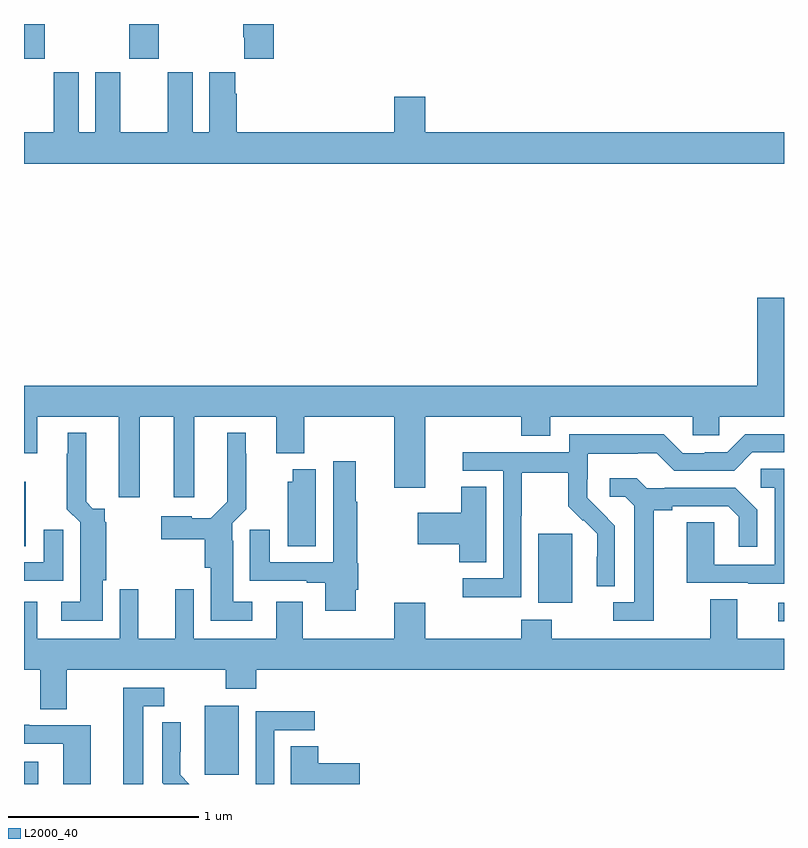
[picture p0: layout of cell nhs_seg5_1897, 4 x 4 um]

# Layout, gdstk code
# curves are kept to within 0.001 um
import gdstk
lib = gdstk.Library(unit=1e-6, precision=1e-09)
def R(c, l, rs):  # rectangles x0, y0, x1, y1
    for r in rs: c.add(gdstk.rectangle(r[:2], r[2:], *l))
def P(c, l, *ps):  # polygons
    for p in ps: c.add(gdstk.Polygon(p, *l))
L2000_40 = (2000, 40)

nhs_seg5_1897 = lib.new_cell('nhs_seg5_1897')
R(nhs_seg5_1897, L2000_40, [(223,882.799,223.075,882.916), (223.952,882.849,224.131,883.21), (226.971,883.656,227,883.752), (225.707,883.754,225.886,884.115), (223,884.05,223.009,884.391), (223,886.617,223.11,886.799), (223.555,886.617,223.71,886.799)])
P(nhs_seg5_1897, L2000_40, [(224.315,886.799),(224.155,886.799),(224.155,886.729),(224.159,886.729),(224.159,886.617),(224.315,886.617)],
  [(227,886.228),(225.112,886.228),(225.112,886.417),(224.948,886.417),(224.948,886.228),(224.12,886.228),(224.12,886.433),(224.113,886.433),(224.113,886.546),(223.976,886.546),(223.976,886.228),(223.888,886.228),(223.888,886.546),(223.757,886.546),(223.757,886.228),(223.507,886.228),(223.507,886.546),(223.376,886.546),(223.376,886.228),(223.288,886.228),(223.288,886.546),(223.157,886.546),(223.157,886.228),(223,886.228),(223,886.064),(227,886.064)],
  [(223,884.54),(223.069,884.54),(223.069,884.732),(223.499,884.732),(223.499,884.307),(223.609,884.307),(223.609,884.732),(223.787,884.732),(223.787,884.307),(223.897,884.307),(223.897,884.732),(224.327,884.732),(224.327,884.54),(224.475,884.54),(224.475,884.732),(224.948,884.732),(224.948,884.358),(225.112,884.358),(225.112,884.732),(225.617,884.732),(225.617,884.633),(225.769,884.633),(225.769,884.732),(226.521,884.732),(226.521,884.634),(226.659,884.634),(226.659,884.732),(227,884.732),(227,885.358),(226.859,885.358),(226.859,884.896),(223,884.896)],
  [(224.2,883.759),(224.101,883.759),(224.101,884.078),(224.097,884.078),(224.097,884.172),(224.171,884.246),(224.171,884.537),(224.167,884.537),(224.167,884.647),(224.069,884.647),(224.07,884.284),(223.983,884.197),(223.884,884.197),(223.884,884.209),(223.722,884.209),(223.722,884.087),(223.952,884.087),(223.952,883.938),(223.982,883.938),(223.982,883.658),(224.2,883.658)],
  [(223.414,883.872),(223.432,883.872),(223.432,884.177),(223.426,884.183),(223.426,884.248),(223.362,884.248),(223.327,884.284),(223.327,884.647),(223.229,884.647),(223.229,884.537),(223.225,884.537),(223.225,884.246),(223.295,884.176),(223.295,883.759),(223.197,883.759),(223.197,883.658),(223.414,883.658)],
  [(225.618,884.212),(225.621,884.212),(225.621,884.436),(225.865,884.436),(225.865,884.261),(225.942,884.184),(225.945,884.187),(226.016,884.117),(226.016,883.994),(226.014,883.994),(226.014,883.84),(226.11,883.84),(226.11,884.158),(225.964,884.306),(225.964,884.403),(225.966,884.403),(225.966,884.537),(226.229,884.537),(226.229,884.541),(226.329,884.541),(226.422,884.448),(226.737,884.448),(226.833,884.544),(227,884.544),(227,884.64),(226.797,884.64),(226.701,884.544),(226.583,884.544),(226.583,884.541),(226.467,884.541),(226.367,884.641),(225.87,884.641),(225.87,884.544),(225.309,884.544),(225.309,884.448),(225.522,884.448),(225.522,883.881),(225.309,883.881),(225.309,883.783),(225.618,883.783)],
  [(224.746,883.822),(224.759,883.822),(224.759,883.962),(224.754,883.962),(224.754,884.284),(224.746,884.284),(224.746,884.497),(224.627,884.497),(224.627,883.965),(224.293,883.965),(224.293,884.137),(224.189,884.137),(224.189,883.869),(224.489,883.869),(224.489,883.857),(224.585,883.857),(224.585,883.71),(224.746,883.71)],
  [(227,884.459),(226.878,884.459),(226.878,884.358),(226.95,884.358),(226.95,883.953),(226.632,883.953),(226.632,884.177),(226.487,884.177),(226.487,883.857),(226.811,883.857),(226.811,883.853),(227,883.853)],
  [(224.536,884.455),(224.414,884.455),(224.414,884.391),(224.387,884.391),(224.387,884.05),(224.536,884.05)],
  [(226.315,884.24),(226.411,884.24),(226.411,884.262),(226.706,884.262),(226.763,884.205),(226.763,884.049),(226.86,884.049),(226.86,884.242),(226.744,884.358),(226.372,884.358),(226.372,884.355),(226.278,884.355),(226.226,884.407),(226.083,884.407),(226.083,884.31),(226.164,884.31),(226.211,884.263),(226.211,883.755),(226.101,883.755),(226.101,883.659),(226.315,883.659)],
  [(225.433,884.363),(225.302,884.363),(225.302,884.227),(225.072,884.227),(225.072,884.062),(225.29,884.062),(225.29,883.966),(225.433,883.966)],
  [(223.207,884.137),(223.103,884.137),(223.103,883.965),(223,883.965),(223,883.869),(223.207,883.869)],
  [(223.225,883.4),(224.062,883.4),(224.062,883.301),(224.222,883.301),(224.222,883.4),(227,883.4),(227,883.564),(226.753,883.564),(226.753,883.772),(226.613,883.772),(226.613,883.564),(225.777,883.564),(225.777,883.663),(225.617,883.663),(225.617,883.564),(225.112,883.564),(225.112,883.753),(224.948,883.753),(224.948,883.564),(224.467,883.564),(224.467,883.759),(224.327,883.759),(224.327,883.564),(223.893,883.564),(223.893,883.825),(223.796,883.825),(223.796,883.564),(223.601,883.564),(223.601,883.825),(223.503,883.825),(223.503,883.564),(223.069,883.564),(223.069,883.759),(223,883.759),(223,883.4),(223.085,883.4),(223.085,883.192),(223.225,883.192)],
  [(223.627,883.209),(223.738,883.209),(223.738,883.305),(223.523,883.305),(223.523,882.799),(223.627,882.799)],
  [(224.316,883.083),(224.53,883.083),(224.53,883.182),(224.22,883.182),(224.22,882.799),(224.316,882.799)],
  [(223.823,882.848),(223.823,882.97),(223.824,882.97),(223.824,883.124),(223.728,883.124),(223.728,882.806),(223.735,882.799),(223.871,882.799)],
  [(223.351,883.107),(223.027,883.107),(223.027,883.111),(223,883.111),(223,883.011),(223.206,883.011),(223.206,882.799),(223.351,882.799)],
  [(224.767,882.908),(224.549,882.908),(224.549,882.998),(224.405,882.998),(224.405,882.799),(224.767,882.799)])

lib.write_gds('nhs_seg5_1897.gds')
